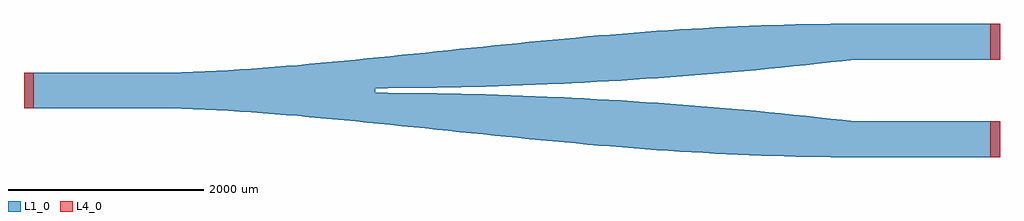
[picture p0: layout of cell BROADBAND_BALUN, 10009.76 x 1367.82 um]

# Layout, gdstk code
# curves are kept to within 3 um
import gdstk
lib = gdstk.Library(unit=1e-6, precision=1e-09)
def R(c, l, rs):  # rectangles x0, y0, x1, y1
    for r in rs: c.add(gdstk.rectangle(r[:2], r[2:], *l))
def P(c, l, *ps):  # polygons
    for p in ps: c.add(gdstk.Polygon(p, *l))
L1_0 = (1, 0)
L4_0 = (4, 0)

broadband_balun = lib.new_cell('BROADBAND_BALUN')
P(broadband_balun, L1_0, [(5539.521,-70.387),(4611.508,-37.298),(4107.217,-28.075),(3602.927,-25),(3602.927,25),(4107.217,28.075),(4611.508,37.298),(5539.521,70.387),(5539.521,532.697),(3163.332,293.787),(2569.285,241.717),(2094.047,208.086),(1737.619,190.048),(1500,183.909),(0,183.909),(0,-183.909),(1500,-183.909),(1737.619,-190.048),(2094.047,-208.086),(2569.285,-241.717),(3163.332,-293.787),(5539.521,-532.697)],
  [(5620.088,74.193),(6250.451,109.743),(7006.886,165.086),(7763.322,234.264),(8519.757,317.278),(10009.757,316.091),(10009.757,683.909),(8272.138,682.847),(7559.281,667.058),(7084.044,646.442),(6608.806,618.406),(6133.568,583.756),(5539.521,532.697),(5539.521,70.387)],
  [(10009.757,-316.091),(8519.757,-317.278),(7763.322,-234.264),(7006.886,-165.086),(6250.451,-109.743),(5539.521,-70.387),(5539.521,-532.697),(6252.378,-592.987),(6965.234,-640.1),(7559.281,-667.058),(8153.329,-681.52),(10009.757,-683.909)])
R(broadband_balun, L4_0, [(9909.757,-683.909,10009.757,-316.091), (0,-183.909,100,183.909), (9909.757,316.091,10009.757,683.909)])

lib.write_gds('BROADBAND_BALUN.gds')
